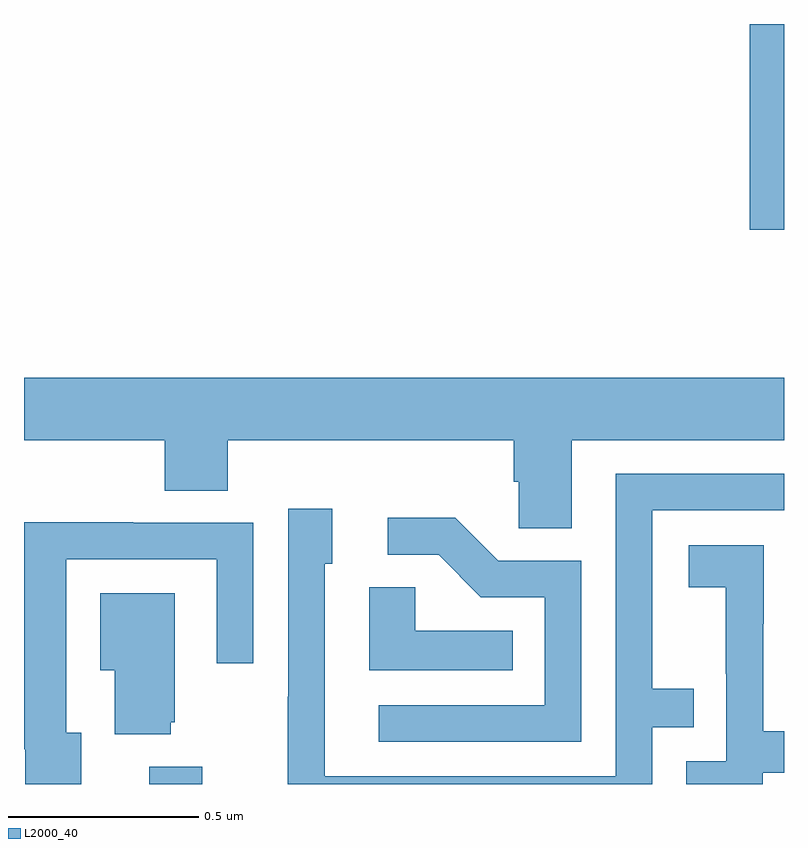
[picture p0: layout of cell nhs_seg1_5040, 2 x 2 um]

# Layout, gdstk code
import gdstk
lib = gdstk.Library(unit=1e-6, precision=1e-09)
def R(c, l, rs):  # rectangles x0, y0, x1, y1
    for r in rs: c.add(gdstk.rectangle(r[:2], r[2:], *l))
def P(c, l, *ps):  # polygons
    for p in ps: c.add(gdstk.Polygon(p, *l))
L2000_40 = (2000, 40)

nhs_seg1_5040 = lib.new_cell('nhs_seg1_5040')
R(nhs_seg1_5040, L2000_40, [(174.329,512.199,174.469,512.245), (175.91,513.657,176,514.199)])
P(nhs_seg1_5040, L2000_40, [(174,513.104),(174.371,513.104),(174.371,512.971),(174.536,512.971),(174.536,513.104),(175.289,513.104),(175.289,512.995),(175.302,512.995),(175.302,512.872),(175.441,512.872),(175.441,513.104),(176,513.104),(176,513.268),(174,513.268)],
  [(175.653,512.349),(175.763,512.349),(175.763,512.45),(175.653,512.45),(175.653,512.919),(176,512.919),(176,513.015),(175.557,513.015),(175.557,512.22),(174.792,512.22),(174.792,512.778),(174.811,512.778),(174.811,512.923),(174.696,512.923),(174.696,512.429),(174.694,512.429),(174.694,512.199),(175.653,512.199)],
  [(175.467,512.787),(175.248,512.787),(175.135,512.9),(174.957,512.9),(174.957,512.802),(175.091,512.802),(175.202,512.691),(175.371,512.691),(175.371,512.406),(174.933,512.406),(174.933,512.31),(175.467,512.31)],
  [(174.151,512.334),(174.111,512.334),(174.111,512.79),(174.507,512.79),(174.507,512.517),(174.603,512.517),(174.603,512.886),(174.287,512.886),(174.287,512.888),(174,512.888),(174,512.29),(174.003,512.29),(174.003,512.199),(174.151,512.199)],
  [(175.944,512.229),(176,512.229),(176,512.338),(175.946,512.338),(175.946,512.621),(175.947,512.621),(175.947,512.827),(175.749,512.827),(175.749,512.717),(175.847,512.717),(175.847,512.489),(175.848,512.489),(175.848,512.259),(175.743,512.259),(175.743,512.199),(175.944,512.199)],
  [(175.286,512.602),(175.029,512.602),(175.029,512.717),(174.908,512.717),(174.908,512.498),(175.286,512.498)],
  [(174.386,512.361),(174.397,512.361),(174.397,512.701),(174.2,512.701),(174.2,512.498),(174.239,512.498),(174.239,512.33),(174.386,512.33)])

lib.write_gds('nhs_seg1_5040.gds')
